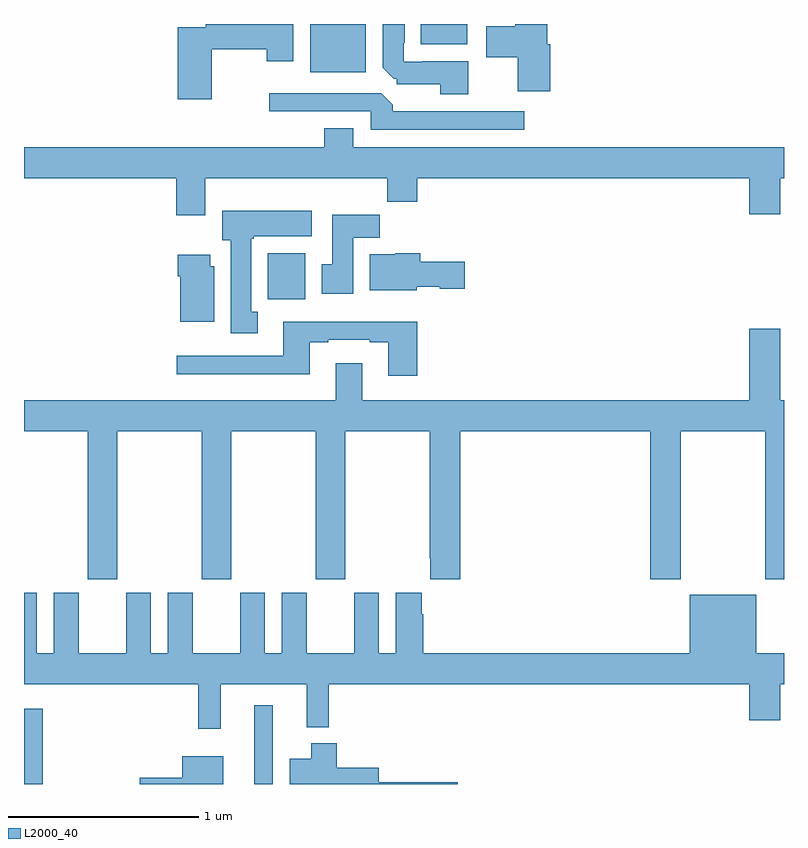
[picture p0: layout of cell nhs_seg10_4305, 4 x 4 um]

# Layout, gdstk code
import gdstk
lib = gdstk.Library(unit=1e-6, precision=1e-09)
def R(c, l, rs):  # rectangles x0, y0, x1, y1
    for r in rs: c.add(gdstk.rectangle(r[:2], r[2:], *l))
def P(c, l, *ps):  # polygons
    for p in ps: c.add(gdstk.Polygon(p, *l))
L2000_40 = (2000, 40)

nhs_seg10_4305 = lib.new_cell('nhs_seg10_4305')
R(nhs_seg10_4305, L2000_40, [(353,1258.5,353.099,1258.897), (354.212,1258.5,354.309,1258.915), (354.284,1261.052,354.481,1261.294), (354.506,1262.246,354.799,1262.5), (355.088,1262.393,355.333,1262.5)])
P(nhs_seg10_4305, L2000_40, [(353.988,1262.368),(354.277,1262.368),(354.277,1262.304),(354.418,1262.304),(354.418,1262.5),(353.956,1262.5),(353.956,1262.484),(353.81,1262.484),(353.81,1262.103),(353.988,1262.103)],
  [(355.769,1262.393),(355.754,1262.393),(355.754,1262.5),(355.586,1262.5),(355.586,1262.487),(355.434,1262.487),(355.434,1262.324),(355.598,1262.324),(355.598,1262.145),(355.769,1262.145)],
  [(355.339,1262.305),(355.099,1262.305),(355.099,1262.301),(354.999,1262.301),(354.999,1262.401),(355.003,1262.401),(355.003,1262.5),(354.887,1262.5),(354.887,1262.271),(354.947,1262.211),(354.963,1262.211),(354.963,1262.184),(355.19,1262.184),(355.19,1262.129),(355.339,1262.129)],
  [(355.633,1262.04),(354.941,1262.04),(354.941,1262.074),(354.879,1262.136),(354.291,1262.136),(354.291,1262.04),(354.825,1262.04),(354.825,1261.944),(355.633,1261.944)],
  [(353.953,1261.688),(354.913,1261.688),(354.913,1261.564),(355.07,1261.564),(355.07,1261.688),(356.816,1261.688),(356.816,1261.5),(356.98,1261.5),(356.98,1261.688),(357,1261.688),(357,1261.852),(354.733,1261.852),(354.733,1261.951),(354.581,1261.951),(354.581,1261.852),(353,1261.852),(353,1261.688),(353.801,1261.688),(353.801,1261.494),(353.953,1261.494)],
  [(354.229,1260.986),(354.196,1260.986),(354.196,1261.369),(354.21,1261.369),(354.21,1261.382),(354.514,1261.382),(354.514,1261.516),(354.044,1261.516),(354.044,1261.362),(354.089,1261.362),(354.089,1260.873),(354.229,1260.873)],
  [(354.733,1261.376),(354.872,1261.376),(354.872,1261.495),(354.623,1261.495),(354.623,1261.236),(354.566,1261.236),(354.566,1261.08),(354.733,1261.08)],
  [(355.068,1261.118),(355.188,1261.118),(355.188,1261.106),(355.321,1261.106),(355.321,1261.248),(355.085,1261.248),(355.085,1261.294),(354.954,1261.294),(354.954,1261.288),(354.821,1261.288),(354.821,1261.1),(355.068,1261.1)],
  [(354.001,1261.224),(353.98,1261.224),(353.98,1261.285),(353.81,1261.285),(353.81,1261.172),(353.822,1261.172),(353.822,1260.932),(354.001,1260.932)],
  [(355.07,1260.934),(354.365,1260.934),(354.365,1260.753),(353.805,1260.753),(353.805,1260.656),(354.505,1260.656),(354.505,1260.825),(354.601,1260.825),(354.601,1260.837),(354.821,1260.837),(354.821,1260.825),(354.917,1260.825),(354.917,1260.648),(355.07,1260.648)],
  [(353.49,1260.356),(353.935,1260.356),(353.935,1259.577),(354.09,1259.577),(354.09,1260.356),(354.535,1260.356),(354.535,1259.577),(354.69,1259.577),(354.69,1260.356),(355.135,1260.356),(355.135,1259.689),(355.139,1259.689),(355.139,1259.577),(355.295,1259.577),(355.295,1260.356),(356.297,1260.356),(356.297,1259.577),(356.457,1259.577),(356.457,1260.356),(356.902,1260.356),(356.902,1259.577),(357,1259.577),(357,1260.52),(356.98,1260.52),(356.98,1260.895),(356.816,1260.895),(356.816,1260.52),(354.781,1260.52),(354.781,1260.715),(354.641,1260.715),(354.641,1260.52),(353,1260.52),(353,1260.356),(353.335,1260.356),(353.335,1259.577),(353.49,1259.577)],
  [(356.504,1259.188),(355.1,1259.188),(355.1,1259.393),(355.093,1259.393),(355.093,1259.506),(354.956,1259.506),(354.956,1259.188),(354.868,1259.188),(354.868,1259.506),(354.737,1259.506),(354.737,1259.188),(354.487,1259.188),(354.487,1259.506),(354.356,1259.506),(354.356,1259.188),(354.268,1259.188),(354.268,1259.506),(354.137,1259.506),(354.137,1259.188),(353.887,1259.188),(353.887,1259.506),(353.756,1259.506),(353.756,1259.188),(353.668,1259.188),(353.668,1259.506),(353.537,1259.506),(353.537,1259.188),(353.287,1259.188),(353.287,1259.506),(353.156,1259.506),(353.156,1259.188),(353.068,1259.188),(353.068,1259.506),(353,1259.506),(353,1259.024),(353.917,1259.024),(353.917,1258.791),(354.035,1258.791),(354.035,1259.024),(354.488,1259.024),(354.488,1258.799),(354.605,1258.799),(354.605,1259.024),(356.816,1259.024),(356.816,1258.836),(356.98,1258.836),(356.98,1259.024),(357,1259.024),(357,1259.188),(356.854,1259.188),(356.854,1259.497),(356.504,1259.497)],
  [(355.282,1258.508),(354.868,1258.508),(354.868,1258.585),(354.647,1258.585),(354.647,1258.714),(354.512,1258.714),(354.512,1258.633),(354.398,1258.633),(354.398,1258.5),(355.282,1258.5)],
  [(354.049,1258.645),(353.834,1258.645),(353.834,1258.532),(353.61,1258.532),(353.61,1258.5),(354.049,1258.5)])

lib.write_gds('nhs_seg10_4305.gds')
